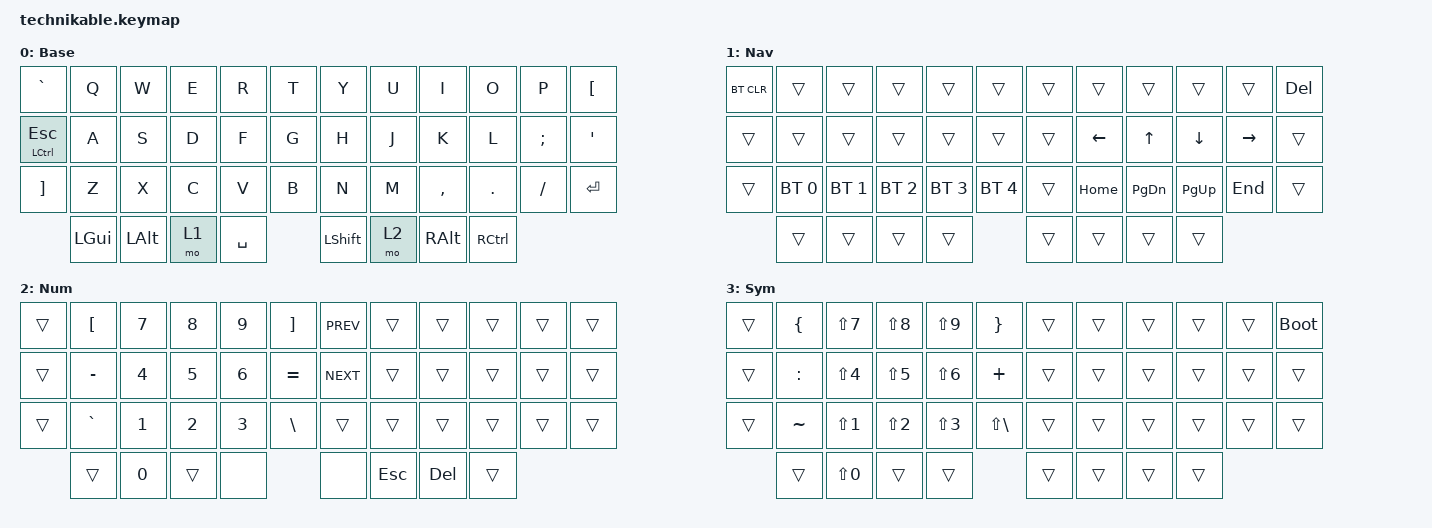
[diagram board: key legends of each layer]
/*
 * Copyright (c) 2022 Pete Johanson
 *
 * SPDX-License-Identifier: MIT
 */

#include <behaviors.dtsi>
#include <dt-bindings/zmk/bt.h>
#include <dt-bindings/zmk/keys.h>

// Using layer taps on thumbs, having quick tap as well helps w/ repeating space/backspace

&lt {
    quick_tap_ms = <200>;
};

/ {
    chosen {
        zmk,matrix_transform = &ortho_transform;
    };

    conditional_layers {
        compatible = "zmk,conditional-layers";

        tri_layer {
            if-layers = <1 2>;
            then-layer = <3>;
        };
    };

    combos {
        compatible = "zmk,combos";

        new_combo {
            bindings = <&kp BSPC>;
            key-positions = <19 20>;
        };
    };

    keymap {
        compatible = "zmk,keymap";

        base_layer {
            label = "Base";
            bindings = <
       &kp GRAVE  &kp Q         &kp W     &kp E  &kp R      &kp T           &kp Y  &kp U      &kp I      &kp O     &kp P  &kp LBKT
&mt LCTRL ESCAPE  &kp A         &kp S     &kp D  &kp F      &kp G           &kp H  &kp J      &kp K      &kp L  &kp SEMI   &kp SQT
        &kp RBKT  &kp Z         &kp X     &kp C  &kp V      &kp B           &kp N  &kp M  &kp COMMA    &kp DOT  &kp FSLH   &kp RET
                         &kp LEFT_GUI  &kp LALT  &mo 1  &kp SPACE  &kp LEFT_SHIFT  &mo 2   &kp RALT  &kp RCTRL
            >;
        };

        nav_layer {
            label = "Nav";
            bindings = <
&bt BT_CLR        &trans        &trans        &trans        &trans        &trans  &trans    &trans     &trans     &trans     &trans  &kp DEL
    &trans        &trans        &trans        &trans        &trans        &trans  &trans  &kp LEFT     &kp UP   &kp DOWN  &kp RIGHT   &trans
    &trans  &bt BT_SEL 0  &bt BT_SEL 1  &bt BT_SEL 2  &bt BT_SEL 3  &bt BT_SEL 4  &trans  &kp HOME  &kp PG_DN  &kp PG_UP    &kp END   &trans
                                &trans        &trans        &trans        &trans  &trans    &trans     &trans     &trans
            >;
        };

        num_layer {
            label = "Num";
            bindings = <
&trans   &kp LBKT  &kp N7  &kp N8  &kp N9   &kp RBKT  &kp C_PREV   &trans   &trans  &trans  &trans  &trans
&trans  &kp MINUS  &kp N4  &kp N5  &kp N6  &kp EQUAL  &kp C_NEXT   &trans   &trans  &trans  &trans  &trans
&trans  &kp GRAVE  &kp N1  &kp N2  &kp N3   &kp BSLH      &trans   &trans   &trans  &trans  &trans  &trans
                   &trans  &kp N0  &trans      &none       &none  &kp ESC  &kp DEL  &trans
            >;
        };

        sym_layer {
            label = "Sym";
            bindings = <
&trans   &kp LBRC  &kp LS(N7)  &kp LS(N8)  &kp LS(N9)      &kp RBRC  &trans  &trans  &trans  &trans  &trans  &bootloader
&trans  &kp COLON  &kp LS(N4)  &kp LS(N5)  &kp LS(N6)      &kp PLUS  &trans  &trans  &trans  &trans  &trans       &trans
&trans  &kp TILDE  &kp LS(N1)  &kp LS(N2)  &kp LS(N3)  &kp LS(BSLH)  &trans  &trans  &trans  &trans  &trans       &trans
                       &trans  &kp LS(N0)      &trans        &trans  &trans  &trans  &trans  &trans
            >;
        };
    };
};
